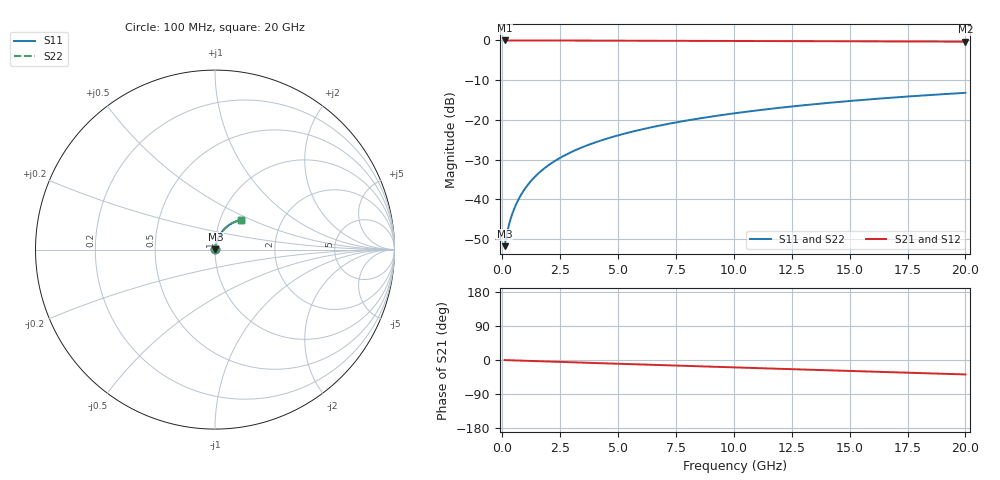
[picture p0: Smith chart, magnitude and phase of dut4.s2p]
! Touchstone file exported from HFSS 2026.1.0
!  File:  C:/ffzhzh/LocalFiles/Ansys_Project_Files/temp_test_TMRDL_4_1782906810_8056.aedt
!  Generated:  07:54:47 PM Jul  1, 2026
!  Design:  TMRDL
!  Project:  temp_test_TMRDL_4_1782906810_8056
! Variables:
!  h_bsmrdl = 2um
!  h_ox = 20um
!  h_rdl = 5um
!  h_sub = 80um
!  h_tmrdl = 5.63um
!  h_tsv = 80um
!  h_via = 3um
!  l_bsmrdl = 300um
!  l_sub = 1034.53um
!  l_tmrdl = 634.53um
!  m_sub = 200um
!  pitch = 36.45um
!  r_tsv = 6um
!  s_tmrdl = 10um
!  w_bsmrdl = 18um
!  w_sub = 500um
!  w_tmrdl = 22.18um
!  x_tsv_center1 = 645.62um
!  x_tsv_center2 = 963.62um
!  x_tsv_center3 = 1620.33um
!  x_tsv_center4 = 1938.33um
!  x_tsv_center5 = 2595.04um
!  x_tsv_center6 = 2913.04um
# GHz S MA R 50.000000
! Terminal data exported
! Port[1] = TM_RDL1_1_T1
! Port[2] = TM_RDL1_1_T2
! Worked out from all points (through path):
!   200 points, 100 MHz to 20 GHz, reference 50 ohm
!   highest |S21| = -0.02 dB at 100 MHz (marker M1); lowest = -0.3 dB at 20 GHz (marker M2)
!   group delay of S21, straight-line fit = 5.28 ps
!   lowest |S11| = -51.8 dB at 100 MHz (marker M3), VSWR 1.01, Z = 50.2 + j0.16 ohm
!   |S11| at or under -10 dB: start of sweep to end of sweep
!   |S22| runs from -51.8 to -13.2 dB; largest |S21 - S12| = 2.8e-15
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0.1  0.002569 38.5  0.998 -0.2  0.998 -0.2  0.002569 38.5
! Gamma 0 0 0 0
! Port Impedance 50 0 50 0
0.2  0.003738 53.5  0.9978 -0.4  0.9978 -0.4  0.003738 53.5
0.3  0.004937 61.1  0.9977 -0.6  0.9977 -0.6  0.004937 61.1
0.4  0.00616 66.0  0.9976 -0.8  0.9976 -0.8  0.00616 66.0
0.5  0.007409 69.3  0.9975 -1.0  0.9975 -1.0  0.007409 69.3
0.6  0.008679 71.7  0.9974 -1.2  0.9974 -1.2  0.008679 71.7
0.8  0.01126 74.7  0.9973 -1.6  0.9973 -1.6  0.01126 74.7
1.1  0.01518 77.0  0.9971 -2.2  0.9971 -2.2  0.01518 77.0
1.3  0.0178 77.8  0.9969 -2.6  0.9969 -2.6  0.0178 77.8
1.6  0.02171 78.3  0.9966 -3.2  0.9966 -3.2  0.02171 78.3
2.1  0.02817 78.4  0.996 -4.2  0.996 -4.2  0.02817 78.4
2.7  0.03579 77.9  0.9952 -5.4  0.9952 -5.4  0.03579 77.9
3.5  0.04571 76.9  0.9941 -7.0  0.9941 -7.0  0.04572 76.9
4.2  0.05422 75.9  0.9931 -8.4  0.9931 -8.4  0.05422 75.8
5  0.06377 74.6  0.9919 -9.9  0.9919 -9.9  0.06377 74.6
5.9  0.07434 73.2  0.9905 -11.6  0.9905 -11.6  0.07434 73.2
6.8  0.08475 71.7  0.9891 -13.4  0.9891 -13.4  0.08475 71.7
8.3  0.1018 69.2  0.9867 -16.2  0.9867 -16.2  0.1018 69.2
10.1  0.1217 66.2  0.9837 -19.7  0.9837 -19.7  0.1217 66.1
13.4  0.1565 60.5  0.9775 -25.9  0.9775 -25.9  0.1566 60.4
16.7  0.189 54.7  0.9709 -32.1  0.9709 -32.1  0.189 54.6
20  0.2187 48.9  0.9639 -38.1  0.9639 -38.1  0.2188 48.8
